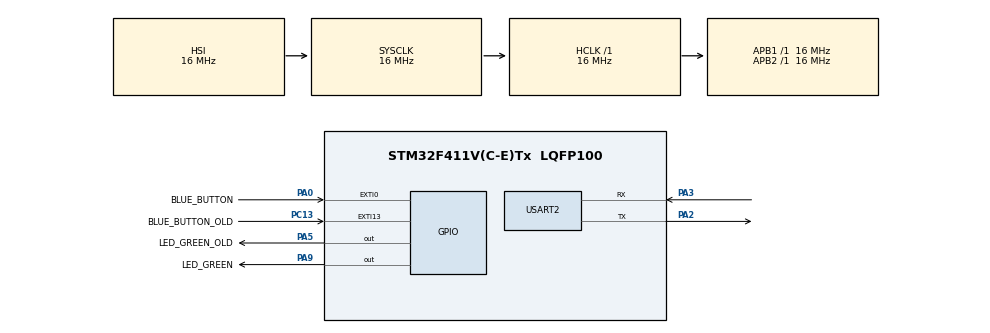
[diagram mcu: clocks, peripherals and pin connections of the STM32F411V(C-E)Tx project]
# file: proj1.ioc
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FREERTOS.Tasks01=MyTask01,24,128,StartTask01,Default,NULL,Dynamic,NULL,NULL;myTask02,24,128,StartTask02,Default,NULL,Dynamic,NULL,NULL;myTask03,8,128,StartTask03,Default,NULL,Dynamic,NULL,NULL
FREERTOS.configUSE_NEWLIB_REENTRANT=1
FREERTOS.configUSE_PREEMPTION=0
Mcu.Family=STM32F4
Mcu.Name=STM32F411V(C-E)Tx
Mcu.Package=LQFP100
NVIC.EXTI0_IRQn=true\:5\:0\:false\:false\:true\:true\:true\:true\:true
NVIC.EXTI15_10_IRQn=true\:5\:0\:false\:false\:true\:true\:true\:true\:true
NVIC.PriorityGroup=NVIC_PRIORITYGROUP_4
NVIC.TIM5_IRQn=true\:15\:0\:false\:false\:true\:false\:false\:true\:true
NVIC.TimeBase=TIM5_IRQn
NVIC.TimeBaseIP=TIM5
PA0-WKUP.GPIO_Label=BLUE_BUTTON
PA0-WKUP.Signal=GPXTI0
PA13.Mode=Trace_Asynchronous_SW
PA13.Signal=SYS_JTMS-SWDIO
PA14.Mode=Trace_Asynchronous_SW
PA14.Signal=SYS_JTCK-SWCLK
PA2.Mode=Asynchronous
PA2.Signal=USART2_TX
PA3.Mode=Asynchronous
PA3.Signal=USART2_RX
PA5.GPIO_Label=LED_GREEN_OLD
PA5.Signal=GPIO_Output
PA9.GPIO_Label=LED_GREEN
PA9.Signal=GPIO_Output
PB3.Mode=Trace_Asynchronous_SW
PB3.Signal=SYS_JTDO-SWO
PC13-ANTI_TAMP.GPIO_Label=BLUE_BUTTON_OLD
PC13-ANTI_TAMP.Signal=GPXTI13
ProjectManager.HeapSize=0x200
ProjectManager.StackSize=0x400
ProjectManager.TargetToolchain=STM32CubeIDE
RCC.AHBFreq_Value=16000000
RCC.APB1Freq_Value=16000000
RCC.APB2Freq_Value=16000000
RCC.CortexFreq_Value=16000000
RCC.HSE_VALUE=25000000
RCC.HSI_VALUE=16000000
RCC.LSE_VALUE=32768
RCC.SYSCLKFreq_VALUE=16000000
RCC.VCOOutputFreq_Value=192000000
USART2.VirtualMode=VM_ASYNC
VP_FREERTOS_VS_CMSIS_V2.Mode=CMSIS_V2
VP_SYS_VS_tim5.Mode=TIM5
board=custom

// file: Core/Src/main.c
/* USER CODE BEGIN Header */
/**
  ******************************************************************************
  * @file           : main.c
  * @brief          : Main program body
  ******************************************************************************
  * @attention
  *
  * Copyright (c) 2025 STMicroelectronics.
  * All rights reserved.
  *
  * This software is licensed under terms that can be found in the LICENSE file
  * in the root directory of this software component.
  * If no LICENSE file comes with this software, it is provided AS-IS.
  *
  ******************************************************************************
  */
/* USER CODE END Header */
#include "main.h"
#include "cmsis_os.h"

/* USER CODE BEGIN PD */
	osThreadState_t task01State;
	osThreadState_t task02State;
	osThreadState_t task03State;
/* USER CODE END PD */

UART_HandleTypeDef huart2;

/* Definitions for MyTask01 */
osThreadId_t MyTask01Handle;
const osThreadAttr_t MyTask01_attributes = {
  .name = "MyTask01",
  .stack_size = 128 * 4,
  .priority = (osPriority_t) osPriorityNormal,
};
/* Definitions for myTask02 */
osThreadId_t myTask02Handle;
const osThreadAttr_t myTask02_attributes = {
  .name = "myTask02",
  .stack_size = 128 * 4,
  .priority = (osPriority_t) osPriorityNormal,
};
/* Definitions for myTask03 */
osThreadId_t myTask03Handle;
const osThreadAttr_t myTask03_attributes = {
  .name = "myTask03",
  .stack_size = 128 * 4,
  .priority = (osPriority_t) osPriorityLow,
};
/* USER CODE BEGIN PV */
osEventFlagsId_t myEventFlags;
/* USER CODE END PV */

void SystemClock_Config(void);
static void MX_GPIO_Init(void);
static void MX_USART2_UART_Init(void);
void StartTask01(void *argument);
void StartTask02(void *argument);
void StartTask03(void *argument);

/* USER CODE BEGIN 0 */
int __io_putchar(int chr)
{
	ITM_SendChar(chr);
	return 1;
}

/*
int __io_putchar(int ch)
{
HAL_UART_Transmit(&huart2, (uint8_t*)&ch, 1, HAL_MAX_DELAY);
return 1;
}
 */
/* USER CODE END 0 */

int main(void)
{

  /* MCU Configuration--------------------------------------------------------*/

  /* Reset of all peripherals, Initializes the Flash interface and the Systick. */
  HAL_Init();

  /* Configure the system clock */
  SystemClock_Config();

  /* Initialize all configured peripherals */
  MX_GPIO_Init();
  MX_USART2_UART_Init();
  /* USER CODE BEGIN 2 */

  //printf("osKernelInitialize()\n");

  /* USER CODE END 2 */

  /* Init scheduler */
  osKernelInitialize();

  /* Create the thread(s) */
  /* creation of MyTask01 */
  MyTask01Handle = osThreadNew(StartTask01, NULL, &MyTask01_attributes);

  /* creation of myTask02 */
  myTask02Handle = osThreadNew(StartTask02, NULL, &myTask02_attributes);

  /* creation of myTask03 */
  myTask03Handle = osThreadNew(StartTask03, NULL, &myTask03_attributes);

  /* USER CODE BEGIN RTOS_THREADS */
  /* add threads, ... */
  myEventFlags = osEventFlagsNew(NULL);
  /* USER CODE END RTOS_THREADS */

  /* Start scheduler */
  osKernelStart();

  /* We should never get here as control is now taken by the scheduler */

  /* Infinite loop */
  while (1)
  {

  }
}

void SystemClock_Config(void)
{
  RCC_OscInitTypeDef RCC_OscInitStruct = {0};
  RCC_ClkInitTypeDef RCC_ClkInitStruct = {0};

  /** Configure the main internal regulator output voltage
  */
  __HAL_RCC_PWR_CLK_ENABLE();
  __HAL_PWR_VOLTAGESCALING_CONFIG(PWR_REGULATOR_VOLTAGE_SCALE1);

  /** Initializes the RCC Oscillators according to the specified parameters
  * in the RCC_OscInitTypeDef structure.
  */
  RCC_OscInitStruct.OscillatorType = RCC_OSCILLATORTYPE_HSI;
  RCC_OscInitStruct.HSIState = RCC_HSI_ON;
  RCC_OscInitStruct.HSICalibrationValue = RCC_HSICALIBRATION_DEFAULT;
  RCC_OscInitStruct.PLL.PLLState = RCC_PLL_NONE;
  if (HAL_RCC_OscConfig(&RCC_OscInitStruct) != HAL_OK)
  {
    Error_Handler();
  }

  /** Initializes the CPU, AHB and APB buses clocks
  */
  RCC_ClkInitStruct.ClockType = RCC_CLOCKTYPE_HCLK|RCC_CLOCKTYPE_SYSCLK
                              |RCC_CLOCKTYPE_PCLK1|RCC_CLOCKTYPE_PCLK2;
  RCC_ClkInitStruct.SYSCLKSource = RCC_SYSCLKSOURCE_HSI;
  RCC_ClkInitStruct.AHBCLKDivider = RCC_SYSCLK_DIV1;
  RCC_ClkInitStruct.APB1CLKDivider = RCC_HCLK_DIV1;
  RCC_ClkInitStruct.APB2CLKDivider = RCC_HCLK_DIV1;

  if (HAL_RCC_ClockConfig(&RCC_ClkInitStruct, FLASH_LATENCY_0) != HAL_OK)
  {
    Error_Handler();
  }
}

static void MX_USART2_UART_Init(void)
{

  huart2.Instance = USART2;
  huart2.Init.BaudRate = 115200;
  huart2.Init.WordLength = UART_WORDLENGTH_8B;
  huart2.Init.StopBits = UART_STOPBITS_1;
  huart2.Init.Parity = UART_PARITY_NONE;
  huart2.Init.Mode = UART_MODE_TX_RX;
  huart2.Init.HwFlowCtl = UART_HWCONTROL_NONE;
  huart2.Init.OverSampling = UART_OVERSAMPLING_16;
  if (HAL_UART_Init(&huart2) != HAL_OK)
  {
    Error_Handler();
  }

}

static void MX_GPIO_Init(void)
{
  GPIO_InitTypeDef GPIO_InitStruct = {0};

  /* GPIO Ports Clock Enable */
  __HAL_RCC_GPIOC_CLK_ENABLE();
  __HAL_RCC_GPIOA_CLK_ENABLE();
  __HAL_RCC_GPIOB_CLK_ENABLE();

  /*Configure GPIO pin Output Level */
  HAL_GPIO_WritePin(GPIOA, LED_GREEN_OLD_Pin|LED_GREEN_Pin, GPIO_PIN_RESET);

  /*Configure GPIO pin : BLUE_BUTTON_OLD_Pin */
  GPIO_InitStruct.Pin = BLUE_BUTTON_OLD_Pin;
  GPIO_InitStruct.Mode = GPIO_MODE_IT_RISING;
  GPIO_InitStruct.Pull = GPIO_NOPULL;
  HAL_GPIO_Init(BLUE_BUTTON_OLD_GPIO_Port, &GPIO_InitStruct);

  /*Configure GPIO pin : BLUE_BUTTON_Pin */
  GPIO_InitStruct.Pin = BLUE_BUTTON_Pin;
  GPIO_InitStruct.Mode = GPIO_MODE_IT_RISING;
  GPIO_InitStruct.Pull = GPIO_NOPULL;
  HAL_GPIO_Init(BLUE_BUTTON_GPIO_Port, &GPIO_InitStruct);

  /*Configure GPIO pins : LED_GREEN_OLD_Pin LED_GREEN_Pin */
  GPIO_InitStruct.Pin = LED_GREEN_OLD_Pin|LED_GREEN_Pin;
  GPIO_InitStruct.Mode = GPIO_MODE_OUTPUT_PP;
  GPIO_InitStruct.Pull = GPIO_NOPULL;
  GPIO_InitStruct.Speed = GPIO_SPEED_FREQ_LOW;
  HAL_GPIO_Init(GPIOA, &GPIO_InitStruct);

  /* EXTI interrupt init*/
  HAL_NVIC_SetPriority(EXTI0_IRQn, 5, 0);
  HAL_NVIC_EnableIRQ(EXTI0_IRQn);

  HAL_NVIC_SetPriority(EXTI15_10_IRQn, 5, 0);
  HAL_NVIC_EnableIRQ(EXTI15_10_IRQn);

}

/* USER CODE BEGIN 4 */
	void reportStatus()
	{
		task01State = osThreadGetState(MyTask01Handle);
		task02State = osThreadGetState(myTask02Handle);
		task03State = osThreadGetState(myTask03Handle);
		printf("Tasks states: 01->%d, 02->%d, 03->%d\n", task01State, task02State, task03State);
	}
/* USER CODE END 4 */

void StartTask01(void *argument)
{
  /* USER CODE BEGIN 5 */
  /* Infinite loop */
  for(;;)
  {
	  //printf("Start job task01\n");
	  reportStatus();
	  osEventFlagsWait(myEventFlags, 0x1, osFlagsWaitAll, osWaitForever);
	  for(int i = 0; i<10; i++)
	  {
		  HAL_GPIO_TogglePin(LED_GREEN_GPIO_Port, LED_GREEN_Pin);
		  HAL_Delay(50);
	  }
	//printf("release resources task01\n");
    osDelay(300);
  }
  /* USER CODE END 5 */
}

void StartTask02(void *argument)
{
  /* USER CODE BEGIN StartTask02 */
  /* Infinite loop */
  for(;;)
  {
	  //printf("Start job task02\n");
	  reportStatus();
	  for(int i = 0; i<5; i++)
	  {
		  HAL_GPIO_TogglePin(LED_GREEN_GPIO_Port, LED_GREEN_Pin);
		  HAL_Delay(300);
	  }
	//printf("release recources task02\n");
    osDelay(300);
  }
  /* USER CODE END StartTask02 */
}

void StartTask03(void *argument)
{
  /* USER CODE BEGIN StartTask03 */
  /* Infinite loop */
  for(;;)
  {
	  //printf("Start job task03\n");
	  reportStatus();
	  for(int i = 0; i<5; i++)
	  {
		  HAL_GPIO_WritePin(LED_GREEN_GPIO_Port, LED_GREEN_Pin, 0);
		  HAL_Delay(250);
	  }
	//printf("release recources task03\n");
    osDelay(2000);
  }
  /* USER CODE END StartTask03 */
}

void HAL_TIM_PeriodElapsedCallback(TIM_HandleTypeDef *htim)
{
  if (htim->Instance == TIM5)
  {
    HAL_IncTick();
  }
}

void Error_Handler(void)
{
  __disable_irq();
  while (1)
  {
  }
}
